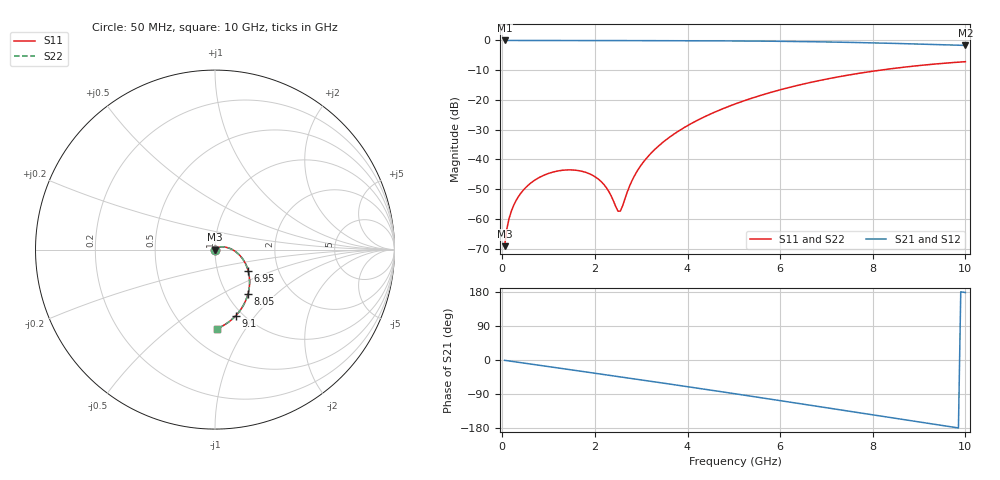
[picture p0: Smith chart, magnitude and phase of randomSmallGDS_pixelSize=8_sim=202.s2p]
! freq	dB(S11)	phase(S11)	dB(S12)	phase(S12)
!  dB(S21)	phase(S21)	dB(S22)	phase(S22)
!S-par simulation data
#  GHz  S  DB  R 50
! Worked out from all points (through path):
!   200 points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, 50 MHz to 10 GHz, reference 50 ohm
!   highest |S21| = 0.00 dB at 50 MHz (marker M1); lowest = -1.7 dB at 10 GHz (marker M2)
!   group delay of S21, straight-line fit = 50.8 ps
!   lowest |S11| = -69.1 dB at 50 MHz (marker M3), VSWR 1.00, Z = 50 - j0.0348 ohm
!   |S11| at or under -10 dB: start of sweep to 8.155 GHz
!   |S22| runs from -69.1 to -7.1 dB; largest |S21 - S12| = 0
!   S11 on the Smith chart (normalised r, x): 50 MHz: 1.00, -0.00; 6.95 GHz: 1.40, -0.35; 8.05 GHz: 1.24, -0.68; 9.1 GHz: 0.93, -0.80; 10 GHz: 0.69, -0.75
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0.05  -69.14 -86.1  -0.00 -0.9  -0.00 -0.9  -69.14 -86.1
0.1  -63.16 -89.5  -0.00 -1.8  -0.00 -1.8  -63.16 -89.5
0.2  -57.19 -92.7  -0.00 -3.5  -0.00 -3.5  -57.19 -92.7
0.35  -52.45 -96.2  -0.01 -6.2  -0.01 -6.2  -52.45 -96.2
0.55  -48.78 -100.4  -0.01 -9.7  -0.01 -9.7  -48.78 -100.4
1.1  -44.21 -111.8  -0.02 -19.2  -0.02 -19.2  -44.21 -111.8
1.75  -44.10 -127.0  -0.03 -30.6  -0.03 -30.6  -44.10 -127.1
2.15  -47.67 -141.7  -0.04 -37.6  -0.04 -37.6  -47.67 -141.9
2.3  -50.76 -153.2  -0.04 -40.2  -0.04 -40.2  -50.74 -153.5
2.5  -57.41 153.5  -0.05 -43.7  -0.05 -43.7  -57.31 153.2
2.55  -57.33 124.4  -0.05 -44.6  -0.05 -44.6  -57.22 124.5
2.75  -48.90 66.6  -0.05 -48.1  -0.05 -48.1  -48.87 66.9
2.9  -44.24 54.6  -0.06 -50.8  -0.06 -50.8  -44.23 54.8
3.4  -35.12 37.1  -0.07 -59.6  -0.07 -59.6  -35.12 37.2
4.1  -27.76 21.7  -0.10 -72.2  -0.10 -72.2  -27.76 21.8
5.05  -21.22 3.2  -0.17 -89.5  -0.17 -89.5  -21.22 3.3
6.7  -13.96 -28.1  -0.43 -120.4  -0.43 -120.4  -13.96 -28.1
6.95  -13.14 -32.8  -0.49 -125.1  -0.49 -125.1  -13.14 -32.8
8.05  -10.23 -53.4  -0.83 -145.9  -0.83 -145.9  -10.23 -53.3
8.35  -9.60 -58.9  -0.94 -151.6  -0.94 -151.6  -9.60 -58.9
9.1  -8.28 -72.5  -1.26 -165.5  -1.26 -165.5  -8.28 -72.5
10  -7.13 -88.3  -1.67 178.1  -1.67 178.1  -7.13 -88.3
